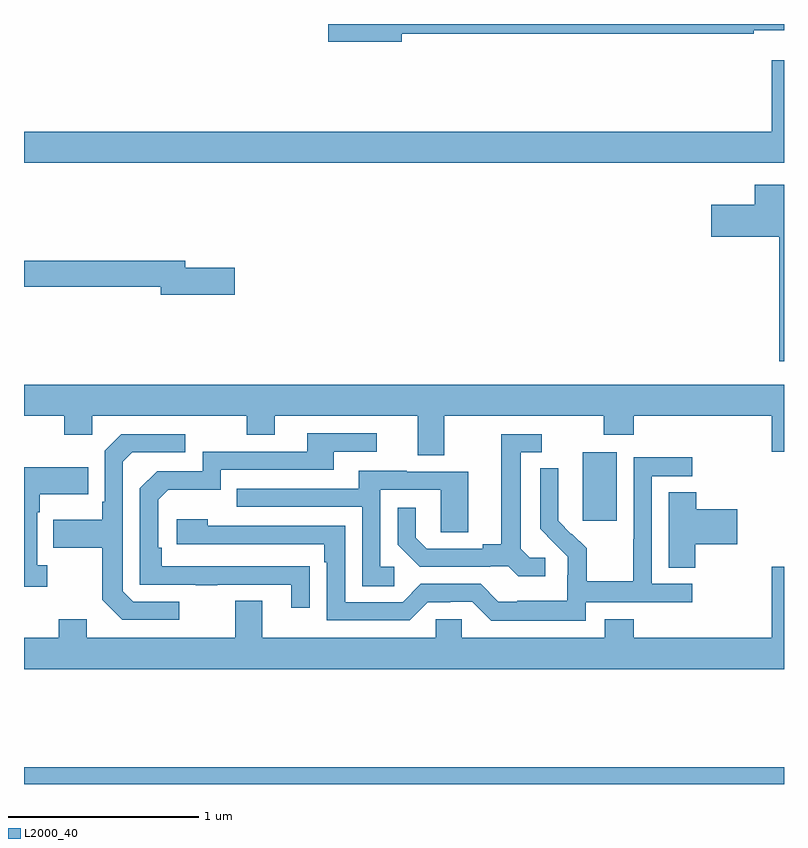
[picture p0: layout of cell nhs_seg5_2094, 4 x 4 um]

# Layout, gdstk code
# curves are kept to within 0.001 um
import gdstk
lib = gdstk.Library(unit=1e-6, precision=1e-09)
def R(c, l, rs):  # rectangles x0, y0, x1, y1
    for r in rs: c.add(gdstk.rectangle(r[:2], r[2:], *l))
def P(c, l, *ps):  # polygons
    for p in ps: c.add(gdstk.Polygon(p, *l))
L2000_40 = (2000, 40)

nhs_seg5_2094 = lib.new_cell('nhs_seg5_2094')
R(nhs_seg5_2094, L2000_40, [(233,878.799,237,878.888), (235.94,880.185,236.119,880.546)])
P(nhs_seg5_2094, L2000_40, [(234.988,882.748),(236.84,882.748),(236.84,882.767),(237,882.767),(237,882.799),(234.6,882.799),(234.6,882.706),(234.988,882.706)],
  [(237,882.607),(236.936,882.607),(236.936,882.232),(233,882.232),(233,882.068),(237,882.068)],
  [(237,881.953),(236.846,881.953),(236.846,881.848),(236.616,881.848),(236.616,881.678),(236.976,881.678),(236.976,881.025),(237,881.025)],
  [(234.109,881.516),(233.848,881.516),(233.848,881.552),(233,881.552),(233,881.416),(233.72,881.416),(233.72,881.374),(234.109,881.374)],
  [(235.213,880.736),(236.05,880.736),(236.05,880.637),(236.21,880.637),(236.21,880.736),(236.936,880.736),(236.936,880.548),(237,880.548),(237,880.9),(233,880.9),(233,880.736),(233.212,880.736),(233.212,880.637),(233.358,880.637),(233.358,880.736),(234.172,880.736),(234.172,880.637),(234.319,880.637),(234.319,880.736),(235.073,880.736),(235.073,880.528),(235.213,880.528)],
  [(234.503,879.944),(233.726,879.945),(233.726,880.042),(233.706,880.042),(233.706,880.296),(233.759,880.349),(234.036,880.349),(234.036,880.452),(234.631,880.452),(234.631,880.548),(234.856,880.548),(234.856,880.644),(234.491,880.644),(234.491,880.548),(233.94,880.548),(233.94,880.446),(233.7,880.446),(233.61,880.356),(233.61,879.849),(233.905,879.849),(233.905,879.844),(234.017,879.844),(234.017,879.849),(234.407,879.849),(234.407,879.726),(234.503,879.726)],
  [(235.744,879.99),(235.662,879.99),(235.615,880.037),(235.615,880.545),(235.726,880.545),(235.726,880.641),(235.511,880.641),(235.511,880.061),(235.415,880.061),(235.415,880.038),(235.12,880.038),(235.063,880.095),(235.063,880.252),(234.966,880.252),(234.966,880.058),(235.082,879.942),(235.454,879.942),(235.454,879.945),(235.548,879.945),(235.6,879.893),(235.744,879.893)],
  [(233.818,879.759),(233.574,879.759),(233.52,879.813),(233.52,880.494),(233.571,880.545),(233.848,880.545),(233.848,880.641),(233.511,880.641),(233.424,880.554),(233.424,880.285),(233.412,880.285),(233.412,880.189),(233.155,880.189),(233.155,880.042),(233.412,880.042),(233.412,879.769),(233.517,879.663),(233.818,879.663)],
  [(235.956,879.756),(236.518,879.756),(236.518,879.852),(236.304,879.852),(236.304,880.419),(236.518,880.419),(236.518,880.518),(236.208,880.518),(236.208,880.088),(236.206,880.088),(236.206,879.865),(235.961,879.865),(235.961,880.039),(235.884,880.116),(235.881,880.113),(235.811,880.184),(235.812,880.46),(235.716,880.46),(235.716,880.142),(235.862,879.994),(235.862,879.897),(235.86,879.897),(235.86,879.763),(235.597,879.763),(235.597,879.759),(235.497,879.759),(235.404,879.852),(235.089,879.852),(234.993,879.756),(234.69,879.756),(234.69,880.158),(233.966,880.158),(233.966,880.192),(233.805,880.192),(233.805,880.062),(234.581,880.062),(234.581,879.965),(234.594,879.965),(234.594,879.66),(235.029,879.66),(235.125,879.756),(235.244,879.756),(235.244,879.759),(235.359,879.759),(235.459,879.659),(235.956,879.659)],
  [(233.122,879.95),(233.07,879.95),(233.07,880.229),(233.083,880.229),(233.083,880.325),(233.339,880.325),(233.339,880.465),(233,880.465),(233,879.837),(233.122,879.837)],
  [(234.949,879.942),(234.876,879.942),(234.876,880.347),(235.194,880.347),(235.194,880.123),(235.339,880.123),(235.339,880.443),(235.015,880.443),(235.015,880.447),(234.761,880.447),(234.761,880.353),(234.121,880.353),(234.121,880.257),(234.78,880.257),(234.78,879.841),(234.949,879.841)],
  [(236.532,880.061),(236.755,880.061),(236.755,880.244),(236.537,880.244),(236.537,880.334),(236.393,880.334),(236.393,879.937),(236.532,879.937)],
  [(237,879.943),(236.936,879.943),(236.936,879.568),(236.21,879.568),(236.21,879.667),(236.057,879.667),(236.057,879.568),(235.305,879.568),(235.305,879.666),(235.167,879.666),(235.167,879.568),(234.253,879.568),(234.253,879.763),(234.113,879.763),(234.113,879.568),(233.329,879.568),(233.329,879.667),(233.182,879.667),(233.182,879.568),(233,879.568),(233,879.404),(237,879.404)])

lib.write_gds('nhs_seg5_2094.gds')
